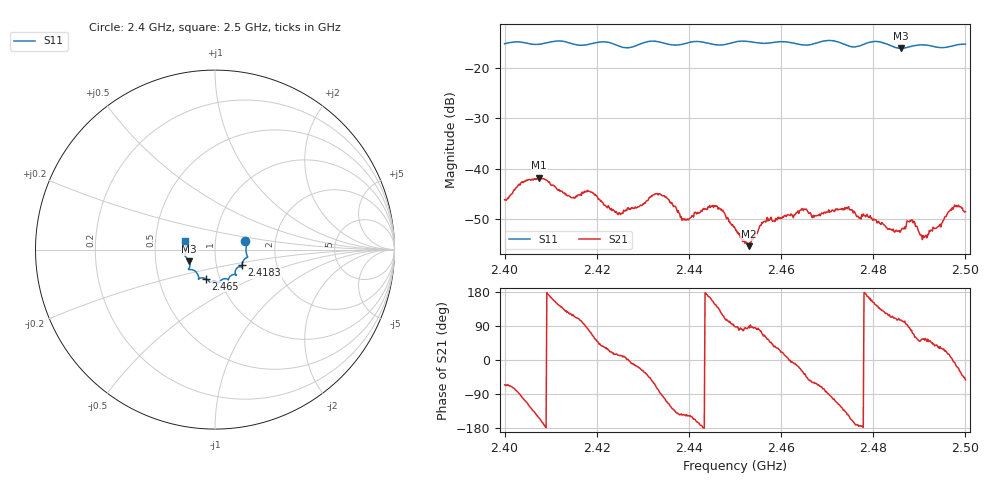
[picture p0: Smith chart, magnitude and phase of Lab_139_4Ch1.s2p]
# Hz S RI R 50
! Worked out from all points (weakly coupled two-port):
!   601 points, 2.4 GHz to 2.5 GHz, reference 50 ohm
!   highest |S21| = -41.79 dB at 2.4075 GHz (marker M1); lowest = -55.4 dB at 2.453 GHz (marker M2)
!   lowest |S11| = -16.0 dB at 2.486 GHz (marker M3), VSWR 1.37, Z = 37.2 - j4.97 ohm
!   |S11| at or under -10 dB: start of sweep to end of sweep
!   S12 and S22 are empty: the file has one direction only
!   S11 on the Smith chart (normalised r, x): 2.4 GHz: 1.40, +0.13; 2.4183 GHz: 1.33, -0.24; 2.465 GHz: 0.86, -0.29; 2.5 GHz: 0.71, +0.07
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2.4e9  0.1694 0.0459  0.00202 -0.00447  0 0  0 0
2.404e9  0.1787 0.0275  -0.00142 -0.00714  0 0  0 0
2.4075e9  0.1729 -0.00958  -0.00725 -0.00369  0 0  0 0
2.414667e9  0.168 -0.0497  -0.00232 0.00459  0 0  0 0
2.416667e9  0.1549 -0.068  -0.00117 0.0053  0 0  0 0
2.418333e9  0.1501 -0.0872  0.00128 0.00581  0 0  0 0
2.425e9  0.1341 -0.096  0.00353 0.000717  0 0  0 0
2.433333e9  0.1175 -0.141  0.00112 -0.00537  0 0  0 0
2.439e9  0.0779 -0.1572  -0.00261 -0.00181  0 0  0 0
2.445667e9  0.0564 -0.162  -0.00351 0.00236  0 0  0 0
2.45e9  0.0253 -0.1809  8.74e-05 0.00256  0 0  0 0
2.453e9  0.0189 -0.1834  3.67e-05 0.00169  0 0  0 0
2.4565e9  -0.00524 -0.177  0.00137 0.00267  0 0  0 0
2.465e9  -0.0525 -0.1618  0.00318 -0.00241  0 0  0 0
2.466667e9  -0.0715 -0.1574  0.0017 -0.00282  0 0  0 0
2.474333e9  -0.0964 -0.138  -0.00323 -0.00235  0 0  0 0
2.483333e9  -0.1413 -0.0965  -0.00114 0.00222  0 0  0 0
2.486e9  -0.1435 -0.0652  -0.00065 0.00234  0 0  0 0
2.4885e9  -0.1604 -0.0431  0.000997 0.00291  0 0  0 0
2.491167e9  -0.1673 -0.033  0.00127 0.00165  0 0  0 0
2.4975e9  -0.1653 0.0322  0.00415 -0.00039  0 0  0 0
2.5e9  -0.167 0.0469  0.00227 -0.00297  0 0  0 0
